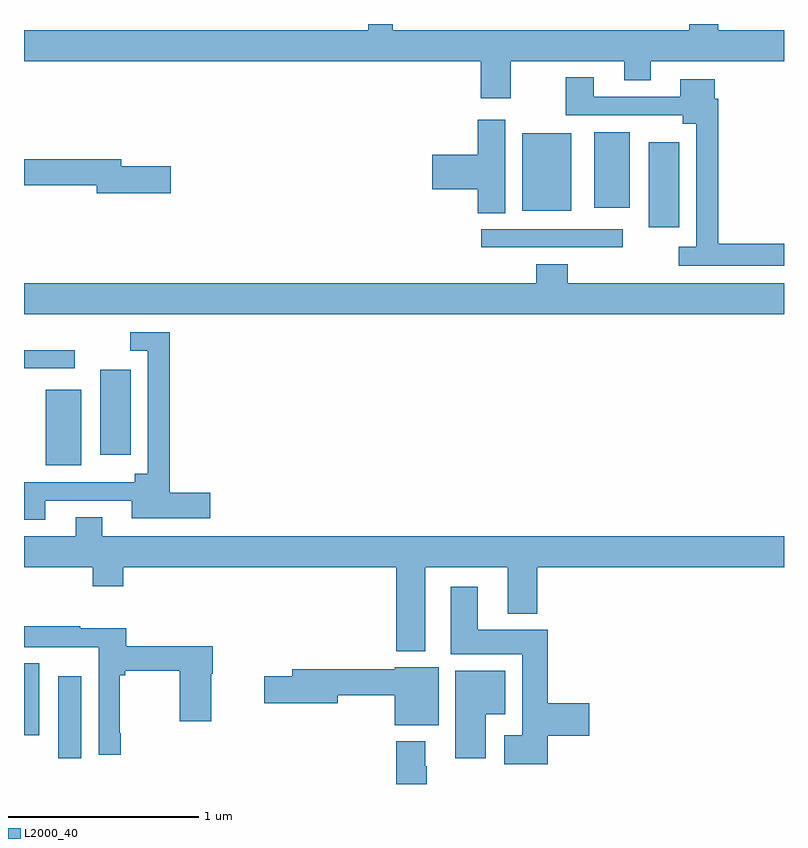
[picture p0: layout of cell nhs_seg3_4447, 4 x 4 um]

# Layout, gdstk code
import gdstk
lib = gdstk.Library(unit=1e-6, precision=1e-09)
def R(c, l, rs):  # rectangles x0, y0, x1, y1
    for r in rs: c.add(gdstk.rectangle(r[:2], r[2:], *l))
def P(c, l, *ps):  # polygons
    for p in ps: c.add(gdstk.Polygon(p, *l))
L2000_40 = (2000, 40)

nhs_seg3_4447 = lib.new_cell('nhs_seg3_4447')
R(nhs_seg3_4447, L2000_40, [(347.18,742.536,347.302,742.966), (347,742.656,347.08,743.036), (347.114,744.077,347.302,744.475), (347.402,744.132,347.563,744.58), (347,744.588,347.266,744.684), (349.407,745.224,350.152,745.32), (350.288,745.329,350.449,745.777), (349.622,745.418,349.879,745.825), (350,745.433,350.188,745.831)])
P(nhs_seg3_4447, L2000_40, [(349.563,746.204),(350.159,746.204),(350.159,746.105),(350.299,746.105),(350.299,746.204),(351,746.204),(351,746.368),(350.654,746.368),(350.654,746.4),(350.501,746.4),(350.501,746.368),(348.94,746.368),(348.94,746.4),(348.811,746.4),(348.811,746.368),(347,746.368),(347,746.204),(349.403,746.204),(349.403,746.01),(349.563,746.01)],
  [(351,745.244),(350.654,745.244),(350.654,746.006),(350.635,746.006),(350.635,746.11),(350.453,746.11),(350.453,746.016),(349.999,746.016),(349.999,746.119),(349.852,746.119),(349.852,745.92),(350.468,745.92),(350.468,745.874),(350.538,745.874),(350.538,745.228),(350.445,745.228),(350.445,745.128),(351,745.128)],
  [(349.534,745.897),(349.388,745.897),(349.388,745.712),(349.149,745.712),(349.149,745.529),(349.388,745.529),(349.388,745.405),(349.534,745.405)],
  [(347.773,745.652),(347.512,745.652),(347.512,745.688),(347,745.688),(347,745.552),(347.384,745.552),(347.384,745.51),(347.773,745.51)],
  [(351,745.036),(349.862,745.036),(349.862,745.135),(349.697,745.135),(349.697,745.036),(347,745.036),(347,744.872),(351,744.872)],
  [(347.113,743.892),(347.567,743.892),(347.567,743.798),(347.98,743.798),(347.98,743.933),(347.768,743.933),(347.768,744.777),(347.559,744.777),(347.559,744.681),(347.652,744.681),(347.652,744.034),(347.582,744.034),(347.582,743.988),(347,743.988),(347,743.79),(347.113,743.79)],
  [(349.111,743.54),(349.547,743.54),(349.547,743.297),(349.7,743.297),(349.7,743.54),(351,743.54),(351,743.704),(347.413,743.704),(347.413,743.803),(347.273,743.803),(347.273,743.704),(347,743.704),(347,743.54),(347.362,743.54),(347.362,743.441),(347.522,743.441),(347.522,743.54),(348.959,743.54),(348.959,743.099),(349.111,743.099)],
  [(349.757,742.655),(349.975,742.655),(349.975,742.826),(349.757,742.826),(349.757,743.212),(349.387,743.212),(349.387,743.437),(349.247,743.437),(349.247,743.084),(349.622,743.084),(349.622,742.657),(349.527,742.657),(349.527,742.505),(349.757,742.505)],
  [(347.51,742.666),(347.503,742.666),(347.503,742.973),(347.532,742.973),(347.532,742.996),(347.821,742.996),(347.821,742.731),(347.986,742.731),(347.986,742.979),(347.994,742.979),(347.994,743.125),(347.537,743.125),(347.537,743.22),(347.297,743.22),(347.297,743.23),(347,743.23),(347,743.121),(347.184,743.121),(347.184,743.12),(347.394,743.12),(347.394,742.554),(347.51,742.554)],
  [(349.183,743.014),(348.95,743.014),(348.95,743.003),(348.413,743.003),(348.413,742.967),(348.264,742.967),(348.264,742.825),(348.652,742.825),(348.652,742.867),(348.95,742.867),(348.95,742.709),(349.183,742.709)],
  [(349.429,742.766),(349.534,742.766),(349.534,742.996),(349.271,742.996),(349.271,742.536),(349.429,742.536)],
  [(349.119,742.493),(349.111,742.493),(349.111,742.624),(348.959,742.624),(348.959,742.4),(349.119,742.4)])

lib.write_gds('nhs_seg3_4447.gds')
